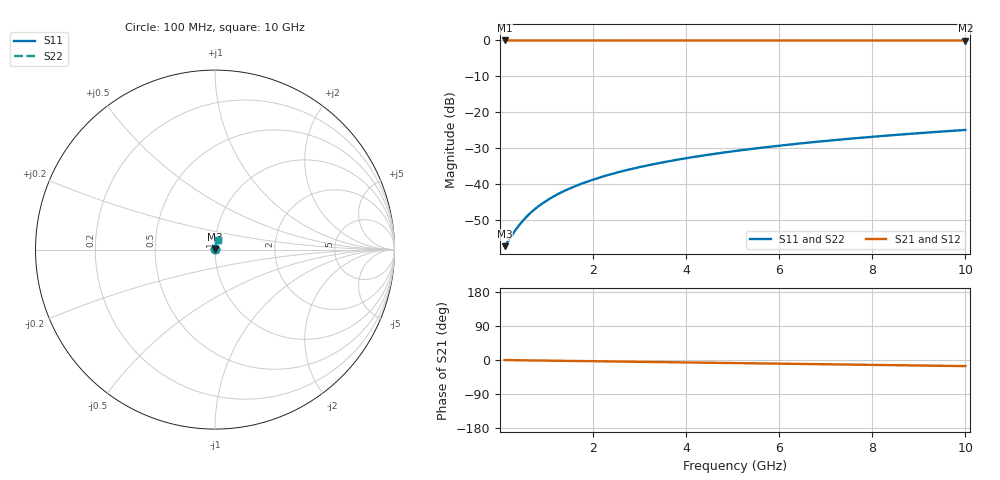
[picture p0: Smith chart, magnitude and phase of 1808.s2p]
# Hz S RI R 50.00
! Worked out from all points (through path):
!   100 points, 100 MHz to 10 GHz, reference 50 ohm
!   highest |S21| = -0.01 dB at 100 MHz (marker M1); lowest = 0.0 dB at 10 GHz (marker M2)
!   group delay of S21, straight-line fit = 4.48 ps
!   lowest |S11| = -57.3 dB at 100 MHz (marker M3), VSWR 1.00, Z = 50.1 + j0.0569 ohm
!   |S11| at or under -10 dB: start of sweep to end of sweep
!   |S22| runs from -57.3 to -24.9 dB; largest |S21 - S12| = 1e-12
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1e8  0.00124 0.000568  0.9988 -0.0028  0.9988 -0.0028  0.00124 0.000568
3e8  0.00126 0.0017  0.9987 -0.00839  0.9987 -0.00839  0.00126 0.0017
4e8  0.00128 0.00227  0.9987 -0.0112  0.9987 -0.0112  0.00128 0.00227
5e8  0.00129 0.00284  0.9986 -0.014  0.9986 -0.014  0.00129 0.00284
6e8  0.00131 0.00341  0.9986 -0.0168  0.9986 -0.0168  0.00131 0.00341
7e8  0.00134 0.00397  0.9985 -0.0196  0.9985 -0.0196  0.00134 0.00397
8e8  0.00136 0.00454  0.9985 -0.0224  0.9985 -0.0224  0.00136 0.00454
1e9  0.00142 0.00568  0.9983 -0.028  0.9983 -0.028  0.00142 0.00568
1.2e9  0.0015 0.00681  0.9981 -0.0335  0.9981 -0.0335  0.0015 0.00681
1.5e9  0.00163 0.00851  0.9978 -0.0419  0.9978 -0.0419  0.00163 0.00851
1.8e9  0.00179 0.0102  0.9974 -0.0503  0.9974 -0.0503  0.00179 0.0102
2.1e9  0.00198 0.0119  0.9969 -0.0587  0.9969 -0.0587  0.00198 0.0119
2.5e9  0.00227 0.0141  0.9961 -0.0699  0.9961 -0.0699  0.00227 0.0141
2.9e9  0.00262 0.0164  0.9952 -0.0811  0.9952 -0.0811  0.00262 0.0164
3.4e9  0.00312 0.0192  0.9939 -0.095  0.9939 -0.095  0.00312 0.0192
4.2e9  0.00409 0.0236  0.9914 -0.1173  0.9914 -0.1173  0.00409 0.0236
5.1e9  0.00541 0.0286  0.988 -0.1423  0.988 -0.1423  0.00541 0.0286
5.9e9  0.0068 0.0329  0.9844 -0.1645  0.9844 -0.1645  0.0068 0.0329
6.7e9  0.00839 0.0372  0.9802 -0.1867  0.9802 -0.1867  0.00839 0.0372
7.5e9  0.0102 0.0414  0.9756 -0.2087  0.9756 -0.2087  0.0102 0.0414
8.4e9  0.0124 0.046  0.9697 -0.2334  0.9697 -0.2334  0.0124 0.046
1e10  0.017 0.054  0.9576 -0.277  0.9576 -0.277  0.017 0.054
